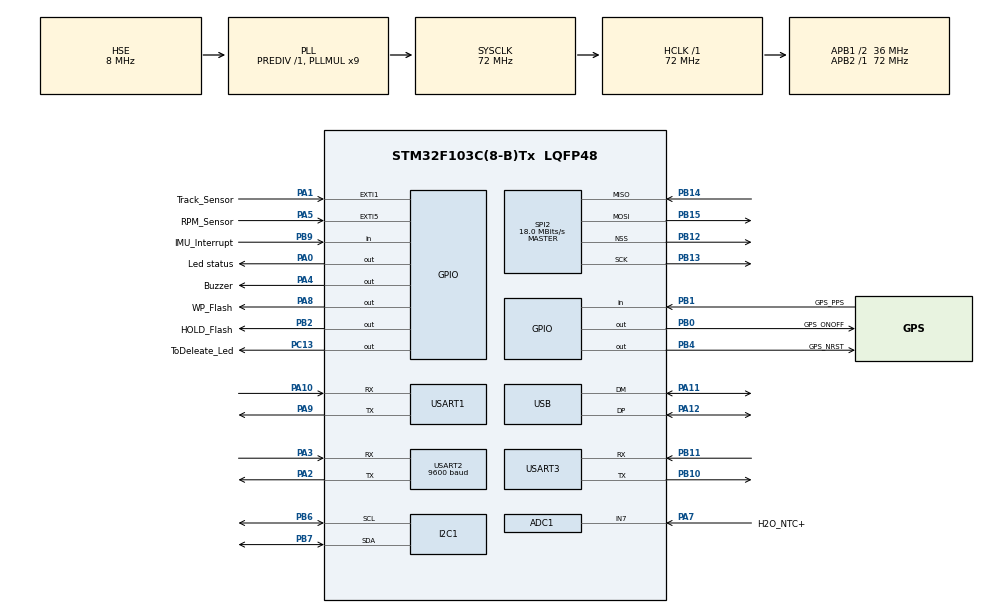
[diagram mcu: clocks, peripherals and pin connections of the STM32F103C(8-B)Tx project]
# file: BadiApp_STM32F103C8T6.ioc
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ADC1.Channel-17\#ChannelRegularConversion=ADC_CHANNEL_7
ADC1.ContinuousConvMode=DISABLE
ADC1.NbrOfConversion=1
ADC1.NbrOfConversionFlag=1
ADC1.Rank-17\#ChannelRegularConversion=1
ADC1.SamplingTime-17\#ChannelRegularConversion=ADC_SAMPLETIME_239CYCLES_5
ADC1.master=1
Dma.ADC1.0.Direction=DMA_PERIPH_TO_MEMORY
Dma.ADC1.0.Instance=DMA1_Channel1
Dma.ADC1.0.MemDataAlignment=DMA_MDATAALIGN_WORD
Dma.ADC1.0.MemInc=DMA_MINC_ENABLE
Dma.ADC1.0.Mode=DMA_NORMAL
Dma.ADC1.0.PeriphDataAlignment=DMA_PDATAALIGN_WORD
Dma.ADC1.0.PeriphInc=DMA_PINC_DISABLE
Dma.ADC1.0.Priority=DMA_PRIORITY_LOW
Dma.Request0=ADC1
Dma.Request1=USART2_TX
Dma.Request2=USART2_RX
Dma.USART2_RX.2.Direction=DMA_PERIPH_TO_MEMORY
Dma.USART2_RX.2.Instance=DMA1_Channel6
Dma.USART2_RX.2.MemDataAlignment=DMA_MDATAALIGN_BYTE
Dma.USART2_RX.2.MemInc=DMA_MINC_ENABLE
Dma.USART2_RX.2.Mode=DMA_NORMAL
Dma.USART2_RX.2.PeriphDataAlignment=DMA_PDATAALIGN_BYTE
Dma.USART2_RX.2.PeriphInc=DMA_PINC_DISABLE
Dma.USART2_RX.2.Priority=DMA_PRIORITY_LOW
Dma.USART2_TX.1.Direction=DMA_MEMORY_TO_PERIPH
Dma.USART2_TX.1.Instance=DMA1_Channel7
Dma.USART2_TX.1.MemDataAlignment=DMA_MDATAALIGN_BYTE
Dma.USART2_TX.1.MemInc=DMA_MINC_ENABLE
Dma.USART2_TX.1.Mode=DMA_NORMAL
Dma.USART2_TX.1.PeriphDataAlignment=DMA_PDATAALIGN_BYTE
Dma.USART2_TX.1.PeriphInc=DMA_PINC_DISABLE
Dma.USART2_TX.1.Priority=DMA_PRIORITY_LOW
Mcu.Family=STM32F1
Mcu.Name=STM32F103C(8-B)Tx
Mcu.Package=LQFP48
NVIC.DMA1_Channel1_IRQn=true\:0\:0\:false\:false\:true\:false\:true\:true
NVIC.DMA1_Channel6_IRQn=true\:0\:0\:false\:false\:true\:false\:true\:true
NVIC.DMA1_Channel7_IRQn=true\:0\:0\:false\:false\:true\:false\:true\:true
NVIC.EXTI1_IRQn=true\:0\:0\:false\:false\:true\:true\:true\:true
NVIC.EXTI9_5_IRQn=true\:0\:0\:false\:false\:true\:true\:true\:true
NVIC.PriorityGroup=NVIC_PRIORITYGROUP_4
NVIC.USART2_IRQn=true\:0\:0\:false\:false\:true\:true\:true\:true
NVIC.USB_LP_CAN1_RX0_IRQn=true\:0\:0\:false\:false\:true\:false\:true\:true
PA0-WKUP.GPIO_Label=Led status
PA0-WKUP.Signal=GPIO_Output
PA1.GPIO_Label=Track_Sensor
PA1.GPIO_ModeDefaultEXTI=GPIO_MODE_IT_FALLING
PA1.Signal=GPXTI1
PA10.Mode=Asynchronous
PA10.Signal=USART1_RX
PA11.Mode=Device
PA11.Signal=USB_DM
PA12.Mode=Device
PA12.Signal=USB_DP
PA13.Mode=Trace_Asynchronous_SW
PA13.Signal=SYS_JTMS-SWDIO
PA14.Mode=Trace_Asynchronous_SW
PA14.Signal=SYS_JTCK-SWCLK
PA2.Mode=Asynchronous
PA2.Signal=USART2_TX
PA3.Mode=Asynchronous
PA3.Signal=USART2_RX
PA4.GPIO_Label=Buzzer
PA4.Signal=GPIO_Output
PA5.GPIO_Label=RPM_Sensor
PA5.GPIO_ModeDefaultEXTI=GPIO_MODE_IT_FALLING
PA5.Signal=GPXTI5
PA7.GPIO_Label=H2O_NTC+
PA7.Signal=ADCx_IN7
PA8.GPIO_Label=WP_Flash
PA8.GPIO_Speed=GPIO_SPEED_FREQ_HIGH
PA8.Signal=GPIO_Output
PA9.Mode=Asynchronous
PA9.Signal=USART1_TX
PB0.GPIO_Label=GPS_ONOFF
PB0.GPIO_Speed=GPIO_SPEED_FREQ_LOW
PB0.Signal=GPIO_Output
PB1.GPIO_Label=GPS_PPS
PB1.Signal=GPIO_Input
PB10.Mode=Asynchronous
PB10.Signal=USART3_TX
PB11.Mode=Asynchronous
PB11.Signal=USART3_RX
PB12.Mode=NSS_Signal_Hard_Output
PB12.Signal=SPI2_NSS
PB13.Mode=Full_Duplex_Master
PB13.Signal=SPI2_SCK
PB14.Mode=Full_Duplex_Master
PB14.Signal=SPI2_MISO
PB15.Mode=Full_Duplex_Master
PB15.Signal=SPI2_MOSI
PB2.GPIO_Label=HOLD_Flash
PB2.GPIO_Speed=GPIO_SPEED_FREQ_HIGH
PB2.PinState=GPIO_PIN_RESET
PB2.Signal=GPIO_Output
PB3.Mode=Trace_Asynchronous_SW
PB3.Signal=SYS_JTDO-TRACESWO
PB4.GPIO_Label=GPS_NRST
PB4.GPIO_Speed=GPIO_SPEED_FREQ_LOW
PB4.Signal=GPIO_Output
PB6.GPIO_Pu=GPIO_PULLUP
PB6.Mode=I2C
PB6.Signal=I2C1_SCL
PB7.GPIO_Pu=GPIO_PULLUP
PB7.Mode=I2C
PB7.Signal=I2C1_SDA
PB9.GPIO_Label=IMU_Interrupt
PB9.Signal=GPIO_Input
PC13-TAMPER-RTC.GPIO_Label=ToDeleate_Led
PC13-TAMPER-RTC.GPIO_Speed=GPIO_SPEED_FREQ_LOW
PC13-TAMPER-RTC.PinState=GPIO_PIN_SET
PC13-TAMPER-RTC.Signal=GPIO_Output
PC14-OSC32_IN.Mode=LSE-External-Oscillator
PC14-OSC32_IN.Signal=RCC_OSC32_IN
PC15-OSC32_OUT.Mode=LSE-External-Oscillator
PC15-OSC32_OUT.Signal=RCC_OSC32_OUT
PD0-OSC_IN.Mode=HSE-External-Oscillator
PD0-OSC_IN.Signal=RCC_OSC_IN
PD1-OSC_OUT.Mode=HSE-External-Oscillator
PD1-OSC_OUT.Signal=RCC_OSC_OUT
ProjectManager.HeapSize=0x200
ProjectManager.StackSize=0x400
ProjectManager.TargetToolchain=STM32CubeIDE
RCC.ADCPresc=RCC_ADCPCLK2_DIV6
RCC.AHBFreq_Value=72000000
RCC.APB1CLKDivider=RCC_HCLK_DIV2
RCC.APB1Freq_Value=36000000
RCC.APB1TimFreq_Value=72000000
RCC.APB2Freq_Value=72000000
RCC.APB2TimFreq_Value=72000000
RCC.EnbaleCSS=true
RCC.HCLKFreq_Value=72000000
RCC.LSE_Timout=300000
RCC.PLLMUL=RCC_PLL_MUL9
RCC.RTCClockSelection=RCC_RTCCLKSOURCE_HSE_DIV128
RCC.SYSCLKFreq_VALUE=72000000
RCC.SYSCLKSource=RCC_SYSCLKSOURCE_PLLCLK
RCC.USBFreq_Value=48000000
RCC.USBPrescaler=RCC_USBCLKSOURCE_PLL_DIV1_5
RTC.AutoPrediv=RTC_AUTO_1_SECOND
RTC.Date=21
RTC.Hours=21
RTC.Minutes=21
RTC.Month=RTC_MONTH_JUNE
RTC.Seconds=21
RTC.Year=21
SH.ADCx_IN7.0=ADC1_IN7,IN7
SPI2.BaudRatePrescaler=SPI_BAUDRATEPRESCALER_2
SPI2.CalculateBaudRate=18.0 MBits/s
SPI2.Direction=SPI_DIRECTION_2LINES
SPI2.Mode=SPI_MODE_MASTER
SPI2.VirtualNSS=VM_NSSHARD
SPI2.VirtualType=VM_MASTER
USART1.VirtualMode=VM_ASYNC
USART2.BaudRate=9600
USART2.VirtualMode=VM_ASYNC
USART3.VirtualMode=VM_ASYNC
USB.low_power_enable=DISABLE
USB_DEVICE.CLASS_NAME_FS=CDC
USB_DEVICE.MANUFACTURER_STRING=BaidApp STM32F103
USB_DEVICE.PID_CDC_FS=1
USB_DEVICE.PRODUCT_STRING_CDC_FS=BadiApp Virtual ComPort
USB_DEVICE.VID=1
USB_DEVICE.VirtualMode=Cdc
USB_DEVICE.VirtualModeFS=Cdc_FS
VP_RTC_No_RTC_Output.Mode=RTC_OUT_NO
VP_RTC_VS_RTC_Activate.Mode=RTC_Enabled
VP_RTC_VS_RTC_Calendar.Mode=RTC_Calendar
VP_USB_DEVICE_VS_USB_DEVICE_CDC_FS.Mode=CDC_FS
board=custom

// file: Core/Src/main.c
/* USER CODE BEGIN Header */
/**
  ******************************************************************************
  * @file           : main.c
  * @brief          : Main program body
  ******************************************************************************
  * @attention
  *
  * <h2><center>&copy; Copyright (c) 2021 STMicroelectronics.
  * All rights reserved.</center></h2>
  *
  * This software component is licensed by ST under Ultimate Liberty license
  * SLA0044, the "License"; You may not use this file except in compliance with
  * the License. You may obtain a copy of the License at:
  *                             www.st.com/SLA0044
  *
  ******************************************************************************
  */
/* USER CODE END Header */
#include "main.h"
#include "usb_device.h"

/* USER CODE BEGIN Includes */
#include "usbd_cdc_if.h"

#include "BootLoaderMng.h"

#include "BluetoothMng.h"

#include "RPM_Counter.h"
#include "Lap_Timer.h"
#include "Temperature_Sensor.h"
/* USER CODE END Includes */

ADC_HandleTypeDef hadc1;
DMA_HandleTypeDef hdma_adc1;

I2C_HandleTypeDef hi2c1;

RTC_HandleTypeDef hrtc;

SPI_HandleTypeDef hspi2;

UART_HandleTypeDef huart1;
UART_HandleTypeDef huart2;
UART_HandleTypeDef huart3;
DMA_HandleTypeDef hdma_usart2_tx;
DMA_HandleTypeDef hdma_usart2_rx;

void SystemClock_Config(void);
static void MX_GPIO_Init(void);
static void MX_DMA_Init(void);
static void MX_ADC1_Init(void);
static void MX_I2C1_Init(void);
static void MX_RTC_Init(void);
static void MX_SPI2_Init(void);
static void MX_USART1_UART_Init(void);
static void MX_USART2_UART_Init(void);
static void MX_USART3_UART_Init(void);

int main(void)
{

  /* MCU Configuration--------------------------------------------------------*/

  /* Reset of all peripherals, Initializes the Flash interface and the Systick. */
  HAL_Init();

  /* Configure the system clock */
  SystemClock_Config();

  /* Initialize all configured peripherals */
  MX_GPIO_Init();
  MX_DMA_Init();
  MX_ADC1_Init();
  MX_I2C1_Init();
  MX_RTC_Init();
  MX_SPI2_Init();
  MX_USART1_UART_Init();
  MX_USART2_UART_Init();
  MX_USART3_UART_Init();
  MX_USB_DEVICE_Init();
  /* USER CODE BEGIN 2 */
  // Calibrate The ADC On Power-Up For Better Accuracy
  HAL_ADCEx_Calibration_Start(&hadc1);
  //Initialization of "micros" counter
  CoreDebug->DEMCR |= CoreDebug_DEMCR_TRCENA_Msk;
  DWT->CTRL |= DWT_CTRL_CYCCNTENA_Msk;

  /*************/
  /*Init Funct**/
  /*************/
  //Initialization of "BootLoader"
  initBootLoaderMode();
  //Initialization of "Bluetooth"
  initBluetoothCommunication(&huart2);
  //Initialization of "RPM counter"
  initCounterRPM();
  //Initialization of "Track counter"
  initCounterLap();
  //Initialization of "Read temperature"
  initReadTemperature();

  /*************/
  /*****USB*****/
  /*************/
  char txtBufUSB[100];
  uint16_t sizeBuffUSB = 0;
  /* USER CODE END 2 */

  /* Infinite loop */
  while (1)
  {

    /* USER CODE BEGIN 3 */
	  uint32_t currentMillis = HAL_GetTick();
	  //RPM update
	  if(currentMillis-previousMillisRPM_Display > CALCULATE_RPM_DELTA_TIME){
		  calculateRPM();
		  //USB
		  sizeBuffUSB += sprintf(txtBufUSB, "RPM_Value: %u ", RPM_Value);
		  //BT
		  appendData( "%u" RPM_SYMBOL, RPM_Value); //6 Characters
		  //Update counter
		  previousMillisRPM_Display = currentMillis;
	  }
	  //Track update
	  if(LapUpdateDisplay == 1){
		  //USB
		  sizeBuffUSB += sprintf(txtBufUSB + sizeBuffUSB, "!--! Lap value: %lu !--! ", Lap_Value);
		  //BT
		  appendData(LAPFINISHED_SYMBOL "%lu" LAP_SYMBOL, Lap_Value);//12 Characters
		  //Update counter
		  previousMillisLap_Display = currentMillis + DELAY_DISPLAY_LAP_TIME;
		  LapUpdateDisplay = 0;
	  }
	  if(currentMillis > previousMillisLap_Display && currentMillis-previousMillisLap_Display > CALCULATE_LAP_DELTA_TIME && LapUpdateDisplay == 0){
		  //USB
		  sizeBuffUSB += sprintf(txtBufUSB + sizeBuffUSB, "Lap value: %lu ", currentMillis-previousMillisLap);
		  //BT
		  appendData("%lu" LAP_SYMBOL, currentMillis-previousMillisLap); //11 Characters
		  //Update counter
		  previousMillisLap_Display = currentMillis;
	  }
	  //Temperature sensor
	  if(currentMillis-previousMillisTemperature_Display > DELAY_DISPLAY_TEMPERATUIRE_SENSOR_TIME){
		  //Calculate temperature
		  calculateTemperature();
		  //USB
		  sizeBuffUSB += sprintf(txtBufUSB + sizeBuffUSB, "Temp: %u ", TemperatureValue);
		  //BT
		  switch(TemperatureAlarmUpdateDisplay){
		  	  case ProbeOk:
		  	  case ProbeInit:
		  		  appendData("%u" TEMP_SYMBOL, TemperatureValue); //6 Characters
		  		  break;
		  	  case HighTemperature:
		  		  appendData(HIGHTEMP_SYMBOL "%u" TEMP_SYMBOL, TemperatureValue); //7 Characters
		  		  break;
		  	  case ProbeNotConnected:
		  	  case ProbeErrorReading:
		  		appendData(PROBEBROKE_SYMBOL "%u" TEMP_SYMBOL, 0); //3 Characters
		  		break;
		  }
		  //Update counter
		  previousMillisTemperature_Display = currentMillis;
	  }
	  //Read temperature value
	  if(currentMillis-previousMillisTemperature_Read > CALCULATE_TEMPERATUIRE_SENSOR_TIME){
		  HAL_ADC_Start_DMA(&hadc1, &ActualRead, 1);
		  previousMillisTemperature_Read = currentMillis;
	  }

	  //Print via USB all informations
	//#define debugBT
	#ifdef debugBT
	  sizeBuffUSB = sizeBuffBT;
	  for(int i=0; i<sizeBuffBT; i++)
		  txtBufUSB[i] = txtBufBT[i];
	#endif

	  if(sizeBuffUSB > 0){
		  sizeBuffUSB += sprintf(txtBufUSB + sizeBuffUSB, "\r\n");
		  CDC_Transmit_FS((uint8_t *)txtBufUSB, sizeBuffUSB);
		  sizeBuffUSB   = 0;
		  txtBufUSB[50] = 0;
	  }
	  //Print via BT all informations
	  printData(&huart2);
	  //Led status
	  HAL_GPIO_TogglePin (ToDeleate_Led_GPIO_Port, ToDeleate_Led_Pin);
	  HAL_Delay(50);
	  //MX_USB_DEVICE_DeInit();
  }
  /* USER CODE END 3 */
}

void SystemClock_Config(void)
{
  RCC_OscInitTypeDef RCC_OscInitStruct = {0};
  RCC_ClkInitTypeDef RCC_ClkInitStruct = {0};
  RCC_PeriphCLKInitTypeDef PeriphClkInit = {0};

  /** Initializes the RCC Oscillators according to the specified parameters
  * in the RCC_OscInitTypeDef structure.
  */
  RCC_OscInitStruct.OscillatorType = RCC_OSCILLATORTYPE_HSE;
  RCC_OscInitStruct.HSEState = RCC_HSE_ON;
  RCC_OscInitStruct.HSEPredivValue = RCC_HSE_PREDIV_DIV1;
  RCC_OscInitStruct.HSIState = RCC_HSI_ON;
  RCC_OscInitStruct.PLL.PLLState = RCC_PLL_ON;
  RCC_OscInitStruct.PLL.PLLSource = RCC_PLLSOURCE_HSE;
  RCC_OscInitStruct.PLL.PLLMUL = RCC_PLL_MUL9;
  if (HAL_RCC_OscConfig(&RCC_OscInitStruct) != HAL_OK)
  {
    Error_Handler();
  }

  /** Initializes the CPU, AHB and APB buses clocks
  */
  RCC_ClkInitStruct.ClockType = RCC_CLOCKTYPE_HCLK|RCC_CLOCKTYPE_SYSCLK
                              |RCC_CLOCKTYPE_PCLK1|RCC_CLOCKTYPE_PCLK2;
  RCC_ClkInitStruct.SYSCLKSource = RCC_SYSCLKSOURCE_PLLCLK;
  RCC_ClkInitStruct.AHBCLKDivider = RCC_SYSCLK_DIV1;
  RCC_ClkInitStruct.APB1CLKDivider = RCC_HCLK_DIV2;
  RCC_ClkInitStruct.APB2CLKDivider = RCC_HCLK_DIV1;

  if (HAL_RCC_ClockConfig(&RCC_ClkInitStruct, FLASH_LATENCY_2) != HAL_OK)
  {
    Error_Handler();
  }
  PeriphClkInit.PeriphClockSelection = RCC_PERIPHCLK_RTC|RCC_PERIPHCLK_ADC
                              |RCC_PERIPHCLK_USB;
  PeriphClkInit.RTCClockSelection = RCC_RTCCLKSOURCE_HSE_DIV128;
  PeriphClkInit.AdcClockSelection = RCC_ADCPCLK2_DIV6;
  PeriphClkInit.UsbClockSelection = RCC_USBCLKSOURCE_PLL_DIV1_5;
  if (HAL_RCCEx_PeriphCLKConfig(&PeriphClkInit) != HAL_OK)
  {
    Error_Handler();
  }

  /** Enables the Clock Security System
  */
  HAL_RCC_EnableCSS();
}

static void MX_ADC1_Init(void)
{

  ADC_ChannelConfTypeDef sConfig = {0};

  /** Common config
  */
  hadc1.Instance = ADC1;
  hadc1.Init.ScanConvMode = ADC_SCAN_DISABLE;
  hadc1.Init.ContinuousConvMode = DISABLE;
  hadc1.Init.DiscontinuousConvMode = DISABLE;
  hadc1.Init.ExternalTrigConv = ADC_SOFTWARE_START;
  hadc1.Init.DataAlign = ADC_DATAALIGN_RIGHT;
  hadc1.Init.NbrOfConversion = 1;
  if (HAL_ADC_Init(&hadc1) != HAL_OK)
  {
    Error_Handler();
  }

  /** Configure Regular Channel
  */
  sConfig.Channel = ADC_CHANNEL_7;
  sConfig.Rank = ADC_REGULAR_RANK_1;
  sConfig.SamplingTime = ADC_SAMPLETIME_239CYCLES_5;
  if (HAL_ADC_ConfigChannel(&hadc1, &sConfig) != HAL_OK)
  {
    Error_Handler();
  }

}

static void MX_I2C1_Init(void)
{

  hi2c1.Instance = I2C1;
  hi2c1.Init.ClockSpeed = 100000;
  hi2c1.Init.DutyCycle = I2C_DUTYCYCLE_2;
  hi2c1.Init.OwnAddress1 = 0;
  hi2c1.Init.AddressingMode = I2C_ADDRESSINGMODE_7BIT;
  hi2c1.Init.DualAddressMode = I2C_DUALADDRESS_DISABLE;
  hi2c1.Init.OwnAddress2 = 0;
  hi2c1.Init.GeneralCallMode = I2C_GENERALCALL_DISABLE;
  hi2c1.Init.NoStretchMode = I2C_NOSTRETCH_DISABLE;
  if (HAL_I2C_Init(&hi2c1) != HAL_OK)
  {
    Error_Handler();
  }

}

static void MX_RTC_Init(void)
{

  RTC_TimeTypeDef sTime = {0};
  RTC_DateTypeDef DateToUpdate = {0};

  /** Initialize RTC Only
  */
  hrtc.Instance = RTC;
  hrtc.Init.AsynchPrediv = RTC_AUTO_1_SECOND;
  hrtc.Init.OutPut = RTC_OUTPUTSOURCE_NONE;
  if (HAL_RTC_Init(&hrtc) != HAL_OK)
  {
    Error_Handler();
  }

  /** Initialize RTC and set the Time and Date
  */
  sTime.Hours = 0x21;
  sTime.Minutes = 0x21;
  sTime.Seconds = 0x21;

  if (HAL_RTC_SetTime(&hrtc, &sTime, RTC_FORMAT_BCD) != HAL_OK)
  {
    Error_Handler();
  }
  DateToUpdate.WeekDay = RTC_WEEKDAY_MONDAY;
  DateToUpdate.Month = RTC_MONTH_JUNE;
  DateToUpdate.Date = 0x21;
  DateToUpdate.Year = 0x21;

  if (HAL_RTC_SetDate(&hrtc, &DateToUpdate, RTC_FORMAT_BCD) != HAL_OK)
  {
    Error_Handler();
  }

}

static void MX_SPI2_Init(void)
{

  /* SPI2 parameter configuration*/
  hspi2.Instance = SPI2;
  hspi2.Init.Mode = SPI_MODE_MASTER;
  hspi2.Init.Direction = SPI_DIRECTION_2LINES;
  hspi2.Init.DataSize = SPI_DATASIZE_8BIT;
  hspi2.Init.CLKPolarity = SPI_POLARITY_LOW;
  hspi2.Init.CLKPhase = SPI_PHASE_1EDGE;
  hspi2.Init.NSS = SPI_NSS_HARD_OUTPUT;
  hspi2.Init.BaudRatePrescaler = SPI_BAUDRATEPRESCALER_2;
  hspi2.Init.FirstBit = SPI_FIRSTBIT_MSB;
  hspi2.Init.TIMode = SPI_TIMODE_DISABLE;
  hspi2.Init.CRCCalculation = SPI_CRCCALCULATION_DISABLE;
  hspi2.Init.CRCPolynomial = 10;
  if (HAL_SPI_Init(&hspi2) != HAL_OK)
  {
    Error_Handler();
  }

}

static void MX_USART1_UART_Init(void)
{

  huart1.Instance = USART1;
  huart1.Init.BaudRate = 115200;
  huart1.Init.WordLength = UART_WORDLENGTH_8B;
  huart1.Init.StopBits = UART_STOPBITS_1;
  huart1.Init.Parity = UART_PARITY_NONE;
  huart1.Init.Mode = UART_MODE_TX_RX;
  huart1.Init.HwFlowCtl = UART_HWCONTROL_NONE;
  huart1.Init.OverSampling = UART_OVERSAMPLING_16;
  if (HAL_UART_Init(&huart1) != HAL_OK)
  {
    Error_Handler();
  }

}

static void MX_USART2_UART_Init(void)
{

  huart2.Instance = USART2;
  huart2.Init.BaudRate = 9600;
  huart2.Init.WordLength = UART_WORDLENGTH_8B;
  huart2.Init.StopBits = UART_STOPBITS_1;
  huart2.Init.Parity = UART_PARITY_NONE;
  huart2.Init.Mode = UART_MODE_TX_RX;
  huart2.Init.HwFlowCtl = UART_HWCONTROL_NONE;
  huart2.Init.OverSampling = UART_OVERSAMPLING_16;
  if (HAL_UART_Init(&huart2) != HAL_OK)
  {
    Error_Handler();
  }

}

static void MX_USART3_UART_Init(void)
{

  huart3.Instance = USART3;
  huart3.Init.BaudRate = 115200;
  huart3.Init.WordLength = UART_WORDLENGTH_8B;
  huart3.Init.StopBits = UART_STOPBITS_1;
  huart3.Init.Parity = UART_PARITY_NONE;
  huart3.Init.Mode = UART_MODE_TX_RX;
  huart3.Init.HwFlowCtl = UART_HWCONTROL_NONE;
  huart3.Init.OverSampling = UART_OVERSAMPLING_16;
  if (HAL_UART_Init(&huart3) != HAL_OK)
  {
    Error_Handler();
  }

}

static void MX_DMA_Init(void)
{

  /* DMA controller clock enable */
  __HAL_RCC_DMA1_CLK_ENABLE();

  /* DMA interrupt init */
  /* DMA1_Channel1_IRQn interrupt configuration */
  HAL_NVIC_SetPriority(DMA1_Channel1_IRQn, 0, 0);
  HAL_NVIC_EnableIRQ(DMA1_Channel1_IRQn);
  /* DMA1_Channel6_IRQn interrupt configuration */
  HAL_NVIC_SetPriority(DMA1_Channel6_IRQn, 0, 0);
  HAL_NVIC_EnableIRQ(DMA1_Channel6_IRQn);
  /* DMA1_Channel7_IRQn interrupt configuration */
  HAL_NVIC_SetPriority(DMA1_Channel7_IRQn, 0, 0);
  HAL_NVIC_EnableIRQ(DMA1_Channel7_IRQn);

}

static void MX_GPIO_Init(void)
{
  GPIO_InitTypeDef GPIO_InitStruct = {0};

  /* GPIO Ports Clock Enable */
  __HAL_RCC_GPIOC_CLK_ENABLE();
  __HAL_RCC_GPIOD_CLK_ENABLE();
  __HAL_RCC_GPIOA_CLK_ENABLE();
  __HAL_RCC_GPIOB_CLK_ENABLE();

  /*Configure GPIO pin Output Level */
  HAL_GPIO_WritePin(ToDeleate_Led_GPIO_Port, ToDeleate_Led_Pin, GPIO_PIN_SET);

  /*Configure GPIO pin Output Level */
  HAL_GPIO_WritePin(GPIOA, Led_status_Pin|Buzzer_Pin|WP_Flash_Pin, GPIO_PIN_RESET);

  /*Configure GPIO pin Output Level */
  HAL_GPIO_WritePin(GPIOB, GPS_ONOFF_Pin|HOLD_Flash_Pin|GPS_NRST_Pin, GPIO_PIN_RESET);

  /*Configure GPIO pin : ToDeleate_Led_Pin */
  GPIO_InitStruct.Pin = ToDeleate_Led_Pin;
  GPIO_InitStruct.Mode = GPIO_MODE_OUTPUT_PP;
  GPIO_InitStruct.Pull = GPIO_NOPULL;
  GPIO_InitStruct.Speed = GPIO_SPEED_FREQ_LOW;
  HAL_GPIO_Init(ToDeleate_Led_GPIO_Port, &GPIO_InitStruct);

  /*Configure GPIO pins : Led_status_Pin Buzzer_Pin */
  GPIO_InitStruct.Pin = Led_status_Pin|Buzzer_Pin;
  GPIO_InitStruct.Mode = GPIO_MODE_OUTPUT_PP;
  GPIO_InitStruct.Pull = GPIO_NOPULL;
  GPIO_InitStruct.Speed = GPIO_SPEED_FREQ_LOW;
  HAL_GPIO_Init(GPIOA, &GPIO_InitStruct);

  /*Configure GPIO pins : Track_Sensor_Pin RPM_Sensor_Pin */
  GPIO_InitStruct.Pin = Track_Sensor_Pin|RPM_Sensor_Pin;
  GPIO_InitStruct.Mode = GPIO_MODE_IT_FALLING;
  GPIO_InitStruct.Pull = GPIO_NOPULL;
  HAL_GPIO_Init(GPIOA, &GPIO_InitStruct);

  /*Configure GPIO pins : GPS_ONOFF_Pin GPS_NRST_Pin */
  GPIO_InitStruct.Pin = GPS_ONOFF_Pin|GPS_NRST_Pin;
  GPIO_InitStruct.Mode = GPIO_MODE_OUTPUT_PP;
  GPIO_InitStruct.Pull = GPIO_NOPULL;
  GPIO_InitStruct.Speed = GPIO_SPEED_FREQ_LOW;
  HAL_GPIO_Init(GPIOB, &GPIO_InitStruct);

  /*Configure GPIO pins : GPS_PPS_Pin IMU_Interrupt_Pin */
  GPIO_InitStruct.Pin = GPS_PPS_Pin|IMU_Interrupt_Pin;
  GPIO_InitStruct.Mode = GPIO_MODE_INPUT;
  GPIO_InitStruct.Pull = GPIO_NOPULL;
  HAL_GPIO_Init(GPIOB, &GPIO_InitStruct);

  /*Configure GPIO pin : HOLD_Flash_Pin */
  GPIO_InitStruct.Pin = HOLD_Flash_Pin;
  GPIO_InitStruct.Mode = GPIO_MODE_OUTPUT_PP;
  GPIO_InitStruct.Pull = GPIO_NOPULL;
  GPIO_InitStruct.Speed = GPIO_SPEED_FREQ_HIGH;
  HAL_GPIO_Init(HOLD_Flash_GPIO_Port, &GPIO_InitStruct);

  /*Configure GPIO pin : WP_Flash_Pin */
  GPIO_InitStruct.Pin = WP_Flash_Pin;
  GPIO_InitStruct.Mode = GPIO_MODE_OUTPUT_PP;
  GPIO_InitStruct.Pull = GPIO_NOPULL;
  GPIO_InitStruct.Speed = GPIO_SPEED_FREQ_HIGH;
  HAL_GPIO_Init(WP_Flash_GPIO_Port, &GPIO_InitStruct);

  /* EXTI interrupt init*/
  HAL_NVIC_SetPriority(EXTI1_IRQn, 0, 0);
  HAL_NVIC_EnableIRQ(EXTI1_IRQn);

  HAL_NVIC_SetPriority(EXTI9_5_IRQn, 0, 0);
  HAL_NVIC_EnableIRQ(EXTI9_5_IRQn);

}

/* USER CODE BEGIN 4 */
// EXTI Line9 External Interrupt ISR Handler CallBackFun
void HAL_GPIO_EXTI_Callback(uint16_t GPIO_Pin)
{
    if(GPIO_Pin == Track_Sensor_Pin) // If The INT Source Is EXTI Line1 (Track_Sensor)
	{
    	deltaTimeInterruptLap(HAL_GetTick());
	}
    if(GPIO_Pin == RPM_Sensor_Pin) // If The INT Source Is EXTI Line5 (RPM_Sensor)
    {
    	deltaTimeInterruptRPM(DWT->CYCCNT / (SystemCoreClock / 1000000U));
    }
}
// ADC callback (temperature sensor)
void HAL_ADC_ConvCpltCallback(ADC_HandleTypeDef* hadc)
{
    // Conversion complete & DMA transfer complete as well
	averageRead();
}
// DMA USART Callback
void HAL_UARTEx_RxEventCallback(UART_HandleTypeDef *huart, uint16_t Size)
{
	switch(readData(huart, Size)){
		case LoadNewApp:
			jumpToBootLoader(FlashModeBT);
			break;
		default: break;
	}

}
/* USER CODE END 4 */

void Error_Handler(void)
{
  __disable_irq();
  while (1)
  {
  }
}
